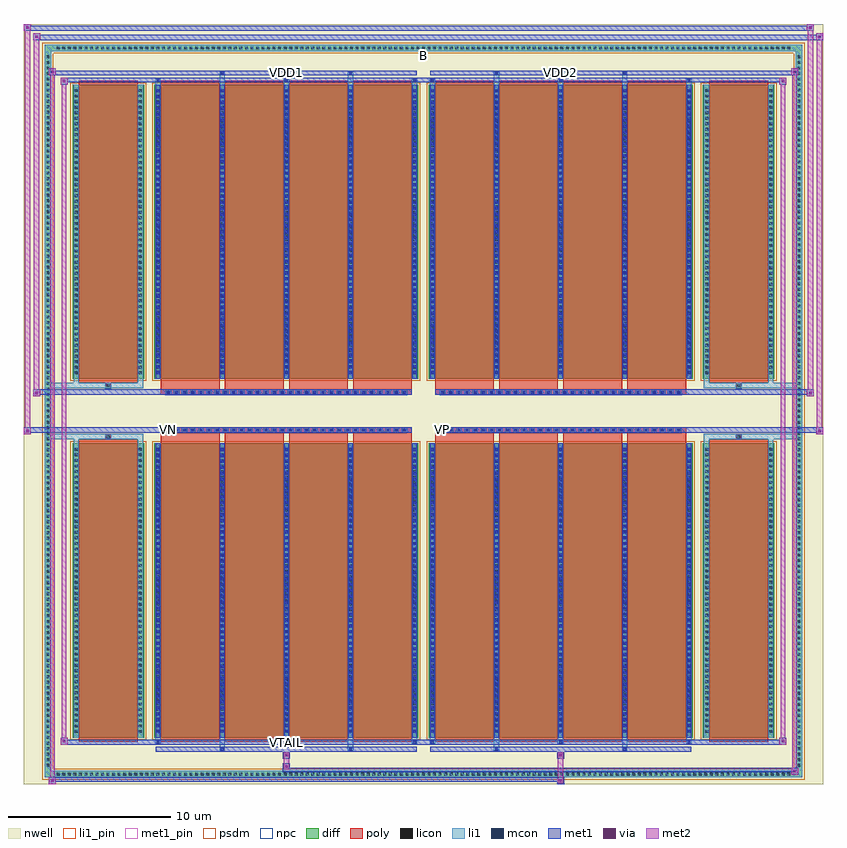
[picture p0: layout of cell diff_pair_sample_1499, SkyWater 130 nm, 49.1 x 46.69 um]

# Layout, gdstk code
import gdstk
lib = gdstk.Library(unit=1e-6, precision=5e-09)
def R(c, l, rs):  # rectangles x0, y0, x1, y1
    for r in rs: c.add(gdstk.rectangle(r[:2], r[2:], *l))
def A(c, l, x, y, w, h, nx, ny, dx, dy):  # array of equal rectangles
    R(c, l, [(x+i*dx, y+j*dy, x+i*dx+w, y+j*dy+h) for i in range(nx) for j in range(ny)])
def P(c, l, *ps):  # polygons
    for p in ps: c.add(gdstk.Polygon(p, *l))
nwell = (64, 20)
diff = (65, 20)
poly = (66, 20)
licon = (66, 44)
li1_pin = (67, 16)
li1 = (67, 20)
mcon = (67, 44)
met1_pin = (68, 16)
met1 = (68, 20)
via = (68, 44)
met2 = (69, 20)
psdm = (94, 20)
npc = (95, 20)

diff_pair_sample_1499 = lib.new_cell('diff_pair_sample_1499')
R(diff_pair_sample_1499, nwell, [(-24.55,-22.91,24.55,23.78), (-21.87,-21.1,-0.01,-0.8), (0.01,-21.1,21.87,-0.8), (-21.87,0.8,-0.01,21.1), (0.01,0.8,21.87,21.1)])
A(diff_pair_sample_1499, diff, -22.645, -22.51, 0.41, 0.41, 133, 2, 0.34, 44.61)
A(diff_pair_sample_1499, diff, -23.28, -21.965, 0.41, 0.41, 1, 129, 0, 0.34)
A(diff_pair_sample_1499, diff, 22.87, -21.965, 0.41, 0.41, 1, 129, 0, 0.34)
R(diff_pair_sample_1499, diff, [(-22.645,-22.51,22.645,-22.1), (-23.28,-21.965,-22.87,21.965), (22.87,-21.965,23.28,21.965), (-21.56,-20.055,-17.17,-1.985), (-16.53,-20.055,-0.32,-1.985), (0.32,-20.055,16.53,-1.985), (17.17,-20.055,21.56,-1.985), (-21.56,1.985,-17.17,20.055), (-16.53,1.985,-0.32,20.055), (0.32,1.985,16.53,20.055), (17.17,1.985,21.56,20.055), (-22.645,22.1,22.645,22.51)])
P(diff_pair_sample_1499, diff, [(23.28,22.51),(-23.28,22.51),(-23.28,-22.1),(-22.87,-22.1),(-22.87,22.1),(22.87,22.1),(22.87,-22.1),(-22.87,-22.1),(-23.28,-22.1),(-23.28,-22.51),(23.28,-22.51)])
A(diff_pair_sample_1499, poly, -16.14, -20.305, 3.61, 18.57, 4, 2, 3.94, 22.04)
A(diff_pair_sample_1499, poly, 0.71, -20.305, 3.61, 18.57, 4, 2, 3.94, 22.04)
A(diff_pair_sample_1499, poly, -16.14, -1.735, 3.61, 0.405, 4, 2, 3.94, 3.065)
A(diff_pair_sample_1499, poly, 0.71, -1.735, 3.61, 0.405, 4, 2, 3.94, 3.065)
A(diff_pair_sample_1499, poly, -15.84, -1.33, 0.33, 0.33, 30, 2, 0.5, 2.33)
A(diff_pair_sample_1499, poly, 1.01, -1.33, 0.33, 0.33, 30, 2, 0.5, 2.33)
R(diff_pair_sample_1499, poly, [(-21.17,-20.305,-17.56,-1.735), (17.56,-20.305,21.17,-1.735), (-19.53,-1.735,-19.2,-1.405), (-19.53,-1.735,-19.2,-1.405), (19.2,-1.735,19.53,-1.405), (19.2,-1.735,19.53,-1.405), (-16.14,-1.33,-0.71,-1), (0.71,-1.33,16.14,-1), (-16.14,1,-0.71,1.33), (0.71,1,16.14,1.33), (-19.53,1.405,-19.2,1.735), (-19.53,1.405,-19.2,1.735), (19.2,1.405,19.53,1.735), (19.2,1.405,19.53,1.735), (-21.17,1.735,-17.56,20.305), (17.56,1.735,21.17,20.305)])
A(diff_pair_sample_1499, licon, -22.525, -22.39, 0.17, 0.17, 133, 2, 0.34, 44.61)
A(diff_pair_sample_1499, licon, -23.16, -21.845, 0.17, 0.17, 1, 129, 0, 0.34)
A(diff_pair_sample_1499, licon, 22.99, -21.845, 0.17, 0.17, 1, 129, 0, 0.34)
A(diff_pair_sample_1499, licon, -21.42, -19.775, 0.17, 0.17, 1, 52, 0, 0.34)
A(diff_pair_sample_1499, licon, -17.48, -19.775, 0.17, 0.17, 1, 52, 0, 0.34)
A(diff_pair_sample_1499, licon, -16.39, -19.775, 0.17, 0.17, 5, 52, 3.94, 0.34)
A(diff_pair_sample_1499, licon, 0.46, -19.775, 0.17, 0.17, 5, 52, 3.94, 0.34)
A(diff_pair_sample_1499, licon, 17.31, -19.775, 0.17, 0.17, 1, 52, 0, 0.34)
A(diff_pair_sample_1499, licon, 21.25, -19.775, 0.17, 0.17, 1, 52, 0, 0.34)
A(diff_pair_sample_1499, licon, -15.76, -1.25, 0.17, 0.17, 30, 2, 0.5, 2.33)
A(diff_pair_sample_1499, licon, 1.09, -1.25, 0.17, 0.17, 30, 2, 0.5, 2.33)
A(diff_pair_sample_1499, licon, -21.42, 2.265, 0.17, 0.17, 1, 52, 0, 0.34)
A(diff_pair_sample_1499, licon, -17.48, 2.265, 0.17, 0.17, 1, 52, 0, 0.34)
A(diff_pair_sample_1499, licon, -16.39, 2.265, 0.17, 0.17, 5, 52, 3.94, 0.34)
A(diff_pair_sample_1499, licon, 0.46, 2.265, 0.17, 0.17, 5, 52, 3.94, 0.34)
A(diff_pair_sample_1499, licon, 17.31, 2.265, 0.17, 0.17, 1, 52, 0, 0.34)
A(diff_pair_sample_1499, licon, 21.25, 2.265, 0.17, 0.17, 1, 52, 0, 0.34)
R(diff_pair_sample_1499, licon, [(-19.45,-1.655,-19.28,-1.485), (19.28,-1.655,19.45,-1.485), (-19.45,1.485,-19.28,1.655), (19.28,1.485,19.45,1.655)])
R(diff_pair_sample_1499, li1_pin, [(-0.25,21.6,0.25,22.1)])
A(diff_pair_sample_1499, li1, -22.605, -22.47, 0.33, 0.33, 133, 2, 0.34, 44.61)
A(diff_pair_sample_1499, li1, -23.24, -21.925, 0.33, 0.33, 1, 129, 0, 0.34)
A(diff_pair_sample_1499, li1, 22.91, -21.925, 0.33, 0.33, 1, 129, 0, 0.34)
A(diff_pair_sample_1499, li1, -16.47, -20.43, 0.33, 0.375, 3, 2, 7.88, 40.485)
A(diff_pair_sample_1499, li1, -16.39, -20.43, 0.17, 0.17, 3, 2, 7.88, 40.69)
A(diff_pair_sample_1499, li1, 0.38, -20.43, 0.33, 0.375, 3, 2, 7.88, 40.485)
A(diff_pair_sample_1499, li1, 0.46, -20.43, 0.17, 0.17, 3, 2, 7.88, 40.69)
A(diff_pair_sample_1499, li1, -16.47, -20.055, 0.33, 18.07, 5, 2, 3.94, 22.04)
A(diff_pair_sample_1499, li1, 0.38, -20.055, 0.33, 18.07, 5, 2, 3.94, 22.04)
A(diff_pair_sample_1499, li1, -21.5, -19.855, 0.33, 0.33, 1, 52, 0, 0.34)
A(diff_pair_sample_1499, li1, -17.56, -19.855, 0.33, 0.33, 1, 52, 0, 0.34)
A(diff_pair_sample_1499, li1, -16.47, -19.855, 0.33, 0.33, 5, 52, 3.94, 0.34)
A(diff_pair_sample_1499, li1, 0.38, -19.855, 0.33, 0.33, 5, 52, 3.94, 0.34)
A(diff_pair_sample_1499, li1, 17.23, -19.855, 0.33, 0.33, 1, 52, 0, 0.34)
A(diff_pair_sample_1499, li1, 21.17, -19.855, 0.33, 0.33, 1, 52, 0, 0.34)
A(diff_pair_sample_1499, li1, -16.39, -19.745, 0.17, 0.17, 5, 49, 3.94, 0.36)
A(diff_pair_sample_1499, li1, -16.39, -19.745, 0.17, 17.45, 5, 2, 3.94, 22.04)
A(diff_pair_sample_1499, li1, 0.46, -19.745, 0.17, 0.17, 5, 49, 3.94, 0.36)
A(diff_pair_sample_1499, li1, 0.46, -19.745, 0.17, 17.45, 5, 2, 3.94, 22.04)
A(diff_pair_sample_1499, li1, -15.84, -1.33, 0.33, 0.33, 30, 2, 0.5, 2.33)
A(diff_pair_sample_1499, li1, 1.01, -1.33, 0.33, 0.33, 30, 2, 0.5, 2.33)
A(diff_pair_sample_1499, li1, -21.5, 2.185, 0.33, 0.33, 1, 52, 0, 0.34)
A(diff_pair_sample_1499, li1, -17.56, 2.185, 0.33, 0.33, 1, 52, 0, 0.34)
A(diff_pair_sample_1499, li1, -16.47, 2.185, 0.33, 0.33, 5, 52, 3.94, 0.34)
A(diff_pair_sample_1499, li1, 0.38, 2.185, 0.33, 0.33, 5, 52, 3.94, 0.34)
A(diff_pair_sample_1499, li1, 17.23, 2.185, 0.33, 0.33, 1, 52, 0, 0.34)
A(diff_pair_sample_1499, li1, 21.17, 2.185, 0.33, 0.33, 1, 52, 0, 0.34)
A(diff_pair_sample_1499, li1, -16.39, 2.295, 0.17, 0.17, 5, 49, 3.94, 0.36)
A(diff_pair_sample_1499, li1, 0.46, 2.295, 0.17, 0.17, 5, 49, 3.94, 0.36)
R(diff_pair_sample_1499, li1, [(-23.28,-22.51,-22.87,-22.1), (-23.28,-22.51,-22.87,-22.1), (-22.87,-22.51,22.87,-22.1), (22.87,-22.51,23.28,-22.1), (22.87,-22.51,23.28,-22.1), (-23.28,-22.1,-22.87,22.1), (22.87,-22.1,23.28,22.1), (-12.53,-20.86,-12.2,-20.055), (-12.45,-20.86,-12.28,-20.69), (-4.65,-20.86,-4.32,-20.055), (-4.57,-20.86,-4.4,-20.69), (4.32,-20.86,4.65,-20.055), (4.4,-20.86,4.57,-20.69), (12.2,-20.86,12.53,-20.055), (12.28,-20.86,12.45,-20.69), (-21.5,-20.055,-21.17,-1.985), (-17.56,-20.055,-17.23,-1.985), (17.23,-20.055,17.56,-1.985), (21.17,-20.055,21.5,-1.985), (-21.5,-1.985,-21.17,-1.405), (-17.56,-1.985,-17.23,-1.405), (17.23,-1.985,17.56,-1.405), (21.17,-1.985,21.5,-1.405), (-23.28,-1.735,-19.53,-1.405), (-21.5,-1.735,-19.53,-1.405), (-19.53,-1.735,-19.2,-1.405), (-19.2,-1.735,-17.23,-1.405), (17.23,-1.735,19.2,-1.405), (19.2,-1.735,19.53,-1.405), (19.2,-1.735,23.28,-1.405), (19.53,-1.735,21.5,-1.405), (-23.28,1.405,-19.53,1.735), (-21.5,1.405,-19.53,1.735), (-21.5,1.405,-21.17,1.985), (-19.53,1.405,-19.2,1.735), (-19.2,1.405,-17.23,1.735), (-17.56,1.405,-17.23,1.985), (17.23,1.405,19.2,1.735), (17.23,1.405,17.56,1.985), (19.2,1.405,19.53,1.735), (19.2,1.405,23.28,1.735), (19.53,1.405,21.5,1.735), (21.17,1.405,21.5,1.985), (-21.5,1.985,-21.17,20.055), (-17.56,1.985,-17.23,20.055), (17.23,1.985,17.56,20.055), (21.17,1.985,21.5,20.055), (-12.53,20.055,-12.2,20.86), (-4.65,20.055,-4.32,20.86), (4.32,20.055,4.65,20.86), (12.2,20.055,12.53,20.86), (-12.45,20.69,-12.28,20.86), (-4.57,20.69,-4.4,20.86), (4.4,20.69,4.57,20.86), (12.28,20.69,12.45,20.86), (-23.28,22.1,-22.87,22.51), (-23.28,22.1,-22.87,22.51), (-22.87,22.1,22.87,22.51), (22.87,22.1,23.28,22.51), (22.87,22.1,23.28,22.51)])
A(diff_pair_sample_1499, mcon, -16.39, -20.43, 0.17, 0.17, 3, 2, 7.88, 40.69)
A(diff_pair_sample_1499, mcon, 0.46, -20.43, 0.17, 0.17, 3, 2, 7.88, 40.69)
A(diff_pair_sample_1499, mcon, -16.39, -19.745, 0.17, 0.17, 5, 49, 3.94, 0.36)
A(diff_pair_sample_1499, mcon, 0.46, -19.745, 0.17, 0.17, 5, 49, 3.94, 0.36)
A(diff_pair_sample_1499, mcon, -15.76, -1.25, 0.17, 0.17, 30, 2, 0.5, 2.33)
A(diff_pair_sample_1499, mcon, 1.09, -1.25, 0.17, 0.17, 30, 2, 0.5, 2.33)
A(diff_pair_sample_1499, mcon, -16.39, 2.295, 0.17, 0.17, 5, 49, 3.94, 0.36)
A(diff_pair_sample_1499, mcon, 0.46, 2.295, 0.17, 0.17, 5, 49, 3.94, 0.36)
R(diff_pair_sample_1499, mcon, [(-12.45,-20.86,-12.28,-20.69), (-4.57,-20.86,-4.4,-20.69), (4.4,-20.86,4.57,-20.69), (12.28,-20.86,12.45,-20.69), (-12.45,20.69,-12.28,20.86), (-4.57,20.69,-4.4,20.86), (4.4,20.69,4.57,20.86), (12.28,20.69,12.45,20.86)])
R(diff_pair_sample_1499, met1_pin, [(-8.56,-20.47,-8.29,-20.2), (-15.81,-1.29,-15.54,-1.02), (1.04,-1.29,1.31,-1.02), (-8.56,20.65,-8.29,20.92), (8.29,20.65,8.56,20.92)])
A(diff_pair_sample_1499, met1, -16.45, -20.49, 0.29, 0.29, 3, 2, 7.88, 40.69)
A(diff_pair_sample_1499, met1, 0.4, -20.49, 0.29, 0.29, 3, 2, 7.88, 40.69)
A(diff_pair_sample_1499, met1, -16.45, -20.055, 0.29, 18.07, 5, 2, 3.94, 22.04)
A(diff_pair_sample_1499, met1, 0.4, -20.055, 0.29, 18.07, 5, 2, 3.94, 22.04)
A(diff_pair_sample_1499, met1, -16.45, -19.805, 0.29, 0.29, 5, 49, 3.94, 0.36)
A(diff_pair_sample_1499, met1, 0.4, -19.805, 0.29, 0.29, 5, 49, 3.94, 0.36)
A(diff_pair_sample_1499, met1, -15.82, -1.31, 0.29, 0.29, 30, 2, 0.5, 2.33)
A(diff_pair_sample_1499, met1, 1.03, -1.31, 0.29, 0.29, 30, 2, 0.5, 2.33)
A(diff_pair_sample_1499, met1, -16.45, 2.235, 0.29, 0.29, 5, 49, 3.94, 0.36)
A(diff_pair_sample_1499, met1, 0.4, 2.235, 0.29, 0.29, 5, 49, 3.94, 0.36)
R(diff_pair_sample_1499, met1, [(-23.01,-22.91,-22.58,-22.48), (8.21,-22.91,8.64,-22.48), (-23.01,-22.77,8.64,-22.48), (22.58,-22.34,23.01,-21.91), (-8.64,-22.2,23.01,-21.91), (-8.64,-22.06,-8.21,-21.63), (-8.64,-21.35,-8.21,-20.92), (8.21,-21.35,8.64,-20.92), (-16.45,-20.92,-0.4,-20.63), (-12.51,-20.92,-12.22,-20.63), (-4.63,-20.92,-4.34,-20.63), (0.4,-20.92,16.45,-20.63), (4.34,-20.92,4.63,-20.63), (12.22,-20.92,12.51,-20.63), (-22.3,-20.49,-21.87,-20.06), (-22.3,-20.49,-16.45,-20.2), (-16.45,-20.49,-0.4,-20.2), (-0.4,-20.49,0.4,-20.2), (0.4,-20.49,16.45,-20.2), (16.45,-20.49,22.3,-20.2), (21.87,-20.49,22.3,-20.06), (-24.55,-1.43,-24.12,-1), (24.12,-1.43,24.55,-1), (-24.55,-1.33,-0.71,-1), (-16.14,-1.33,-0.71,-1), (0.71,-1.33,16.14,-1), (0.71,-1.33,24.55,-1), (-23.98,0.9,-23.55,1.33), (23.55,0.9,23.98,1.33), (-23.98,1,-16.14,1.33), (-16.14,1,-0.71,1.33), (0.71,1,16.14,1.33), (16.14,1,23.98,1.33), (-22.3,20.06,-21.87,20.49), (21.87,20.06,22.3,20.49), (-22.3,20.2,-16.45,20.49), (-16.45,20.2,-0.4,20.49), (-0.4,20.2,0.4,20.49), (0.4,20.2,16.45,20.49), (16.45,20.2,22.3,20.49), (-23.01,20.63,-22.58,21.06), (-23.01,20.63,-16.45,20.92), (-16.45,20.63,-0.4,20.92), (-12.51,20.63,-12.22,20.92), (-4.63,20.63,-4.34,20.92), (0.4,20.63,16.45,20.92), (4.34,20.63,4.63,20.92), (12.22,20.63,12.51,20.92), (16.45,20.63,23.01,20.92), (22.58,20.63,23.01,21.06), (-23.98,22.78,-23.55,23.21), (-23.98,22.78,-21.87,23.11), (-21.87,22.78,21.87,23.11), (21.87,22.78,24.55,23.11), (24.12,22.78,24.55,23.21), (-24.55,23.35,-24.12,23.78), (-24.55,23.35,-21.87,23.68), (-21.87,23.35,21.87,23.68), (21.87,23.35,23.98,23.68), (23.55,23.35,23.98,23.78)])
R(diff_pair_sample_1499, via, [(-22.87,-22.77,-22.72,-22.62), (8.35,-22.77,8.5,-22.62), (22.72,-22.2,22.87,-22.05), (-8.5,-21.92,-8.35,-21.77), (-8.5,-21.21,-8.35,-21.06), (8.35,-21.21,8.5,-21.06), (-22.16,-20.35,-22.01,-20.2), (22.01,-20.35,22.16,-20.2), (-24.41,-1.29,-24.26,-1.14), (24.26,-1.29,24.41,-1.14), (-23.84,1.04,-23.69,1.19), (23.69,1.04,23.84,1.19), (-22.16,20.2,-22.01,20.35), (22.01,20.2,22.16,20.35), (-22.87,20.77,-22.72,20.92), (22.72,20.77,22.87,20.92), (-23.84,22.92,-23.69,23.07), (24.26,22.92,24.41,23.07), (-24.41,23.49,-24.26,23.64), (23.69,23.49,23.84,23.64)])
R(diff_pair_sample_1499, met2, [(-23.01,-22.91,-22.58,-22.48), (-22.94,-22.91,-22.65,21.06), (-22.65,-22.91,-22.58,-22.48), (-22.96,-22.86,-22.63,-22.53), (8.26,-22.86,8.59,-22.53), (8.26,-22.53,8.59,-21.3), (22.58,-22.34,23.01,-21.91), (22.65,-22.34,22.94,21.06), (22.94,-22.34,23.01,-21.91), (22.63,-22.29,22.96,-21.96), (-8.59,-22.01,-8.26,-21.68), (-8.59,-21.68,-8.26,-21.3), (-8.59,-21.3,-8.26,-20.97), (8.26,-21.3,8.59,-20.97), (-22.3,-20.49,-21.87,-20.06), (-22.23,-20.49,-21.94,20.49), (-21.94,-20.49,-21.87,-20.06), (21.87,-20.49,22.3,-20.06), (21.94,-20.49,22.23,20.49), (22.23,-20.49,22.3,-20.06), (-22.25,-20.44,-21.92,-20.11), (21.92,-20.44,22.25,-20.11), (-24.55,-1.43,-24.12,-1), (-24.5,-1.43,-24.17,23.78), (-24.17,-1.43,-24.12,-1), (24.12,-1.43,24.55,-1), (24.17,-1.43,24.5,23.21), (24.5,-1.43,24.55,-1), (-24.5,-1.38,-24.17,-1.05), (24.17,-1.38,24.5,-1.05), (-23.98,0.9,-23.55,1.33), (-23.93,0.9,-23.6,23.21), (-23.6,0.9,-23.55,1.33), (23.55,0.9,23.98,1.33), (23.6,0.9,23.93,23.78), (23.93,0.9,23.98,1.33), (-23.93,0.95,-23.6,1.28), (23.6,0.95,23.93,1.28), (-22.3,20.06,-21.87,20.49), (-21.94,20.06,-21.87,20.49), (21.87,20.06,22.3,20.49), (22.23,20.06,22.3,20.49), (-22.25,20.11,-21.92,20.44), (21.92,20.11,22.25,20.44), (-23.01,20.63,-22.58,21.06), (-22.65,20.63,-22.58,21.06), (22.58,20.63,23.01,21.06), (22.94,20.63,23.01,21.06), (-22.96,20.68,-22.63,21.01), (22.63,20.68,22.96,21.01), (-23.98,22.78,-23.55,23.21), (-23.6,22.78,-23.55,23.21), (24.12,22.78,24.55,23.21), (24.5,22.78,24.55,23.21), (-23.93,22.83,-23.6,23.16), (24.17,22.83,24.5,23.16), (-24.55,23.35,-24.12,23.78), (-24.17,23.35,-24.12,23.78), (23.55,23.35,23.98,23.78), (23.93,23.35,23.98,23.78), (-24.5,23.4,-24.17,23.73), (23.6,23.4,23.93,23.73)])
R(diff_pair_sample_1499, psdm, [(-21.69,-20.185,-17.04,-1.855), (-16.66,-20.185,-0.19,-1.855), (0.19,-20.185,16.66,-1.855), (17.04,-20.185,21.69,-1.855), (-21.69,1.855,-17.04,20.185), (-16.66,1.855,-0.19,20.185), (0.19,1.855,16.66,20.185), (17.04,1.855,21.69,20.185)])
P(diff_pair_sample_1499, psdm, [(23.41,22.64),(-23.41,22.64),(-23.41,-21.97),(-22.74,-21.97),(-22.74,21.97),(22.74,21.97),(22.74,-21.97),(-22.74,-21.97),(-23.41,-21.97),(-23.41,-22.64),(23.41,-22.64)])
A(diff_pair_sample_1499, npc, -15.86, -1.35, 0.37, 0.37, 30, 2, 0.5, 2.33)
A(diff_pair_sample_1499, npc, 0.99, -1.35, 0.37, 0.37, 30, 2, 0.5, 2.33)
R(diff_pair_sample_1499, npc, [(-19.55,-1.755,-19.18,-1.385), (19.18,-1.755,19.55,-1.385), (-15.86,-1.35,-14.99,-0.98), (-15.86,-1.35,-14.99,-0.98), (-15.36,-1.35,-14.49,-0.98), (-15.36,-1.35,-14.49,-0.98), (-14.86,-1.35,-13.99,-0.98), (-14.86,-1.35,-13.99,-0.98), (-14.36,-1.35,-13.49,-0.98), (-14.36,-1.35,-13.49,-0.98), (-13.86,-1.35,-12.99,-0.98), (-13.86,-1.35,-12.99,-0.98), (-13.36,-1.35,-12.49,-0.98), (-13.36,-1.35,-12.49,-0.98), (-12.86,-1.35,-11.99,-0.98), (-12.86,-1.35,-11.99,-0.98), (-12.36,-1.35,-11.49,-0.98), (-12.36,-1.35,-11.49,-0.98), (-11.86,-1.35,-10.99,-0.98), (-11.86,-1.35,-10.99,-0.98), (-11.36,-1.35,-10.49,-0.98), (-11.36,-1.35,-10.49,-0.98), (-10.86,-1.35,-9.99,-0.98), (-10.86,-1.35,-9.99,-0.98), (-10.36,-1.35,-9.49,-0.98), (-10.36,-1.35,-9.49,-0.98), (-9.86,-1.35,-8.99,-0.98), (-9.86,-1.35,-8.99,-0.98), (-9.36,-1.35,-8.49,-0.98), (-9.36,-1.35,-8.49,-0.98), (-8.86,-1.35,-7.99,-0.98), (-8.86,-1.35,-7.99,-0.98), (-8.36,-1.35,-7.49,-0.98), (-8.36,-1.35,-7.49,-0.98), (-7.86,-1.35,-6.99,-0.98), (-7.86,-1.35,-6.99,-0.98), (-7.36,-1.35,-6.49,-0.98), (-7.36,-1.35,-6.49,-0.98), (-6.86,-1.35,-5.99,-0.98), (-6.86,-1.35,-5.99,-0.98), (-6.36,-1.35,-5.49,-0.98), (-6.36,-1.35,-5.49,-0.98), (-5.86,-1.35,-4.99,-0.98), (-5.86,-1.35,-4.99,-0.98), (-5.36,-1.35,-4.49,-0.98), (-5.36,-1.35,-4.49,-0.98), (-4.86,-1.35,-3.99,-0.98), (-4.86,-1.35,-3.99,-0.98), (-4.36,-1.35,-3.49,-0.98), (-4.36,-1.35,-3.49,-0.98), (-3.86,-1.35,-2.99,-0.98), (-3.86,-1.35,-2.99,-0.98), (-3.36,-1.35,-2.49,-0.98), (-3.36,-1.35,-2.49,-0.98), (-2.86,-1.35,-1.99,-0.98), (-2.86,-1.35,-1.99,-0.98), (-2.36,-1.35,-1.49,-0.98), (-2.36,-1.35,-1.49,-0.98), (-1.86,-1.35,-0.99,-0.98), (-1.86,-1.35,-0.99,-0.98), (0.99,-1.35,1.86,-0.98), (0.99,-1.35,1.86,-0.98), (1.49,-1.35,2.36,-0.98), (1.49,-1.35,2.36,-0.98), (1.99,-1.35,2.86,-0.98), (1.99,-1.35,2.86,-0.98), (2.49,-1.35,3.36,-0.98), (2.49,-1.35,3.36,-0.98), (2.99,-1.35,3.86,-0.98), (2.99,-1.35,3.86,-0.98), (3.49,-1.35,4.36,-0.98), (3.49,-1.35,4.36,-0.98), (3.99,-1.35,4.86,-0.98), (3.99,-1.35,4.86,-0.98), (4.49,-1.35,5.36,-0.98), (4.49,-1.35,5.36,-0.98), (4.99,-1.35,5.86,-0.98), (4.99,-1.35,5.86,-0.98), (5.49,-1.35,6.36,-0.98), (5.49,-1.35,6.36,-0.98), (5.99,-1.35,6.86,-0.98), (5.99,-1.35,6.86,-0.98), (6.49,-1.35,7.36,-0.98), (6.49,-1.35,7.36,-0.98), (6.99,-1.35,7.86,-0.98), (6.99,-1.35,7.86,-0.98), (7.49,-1.35,8.36,-0.98), (7.49,-1.35,8.36,-0.98), (7.99,-1.35,8.86,-0.98), (7.99,-1.35,8.86,-0.98), (8.49,-1.35,9.36,-0.98), (8.49,-1.35,9.36,-0.98), (8.99,-1.35,9.86,-0.98), (8.99,-1.35,9.86,-0.98), (9.49,-1.35,10.36,-0.98), (9.49,-1.35,10.36,-0.98), (9.99,-1.35,10.86,-0.98), (9.99,-1.35,10.86,-0.98), (10.49,-1.35,11.36,-0.98), (10.49,-1.35,11.36,-0.98), (10.99,-1.35,11.86,-0.98), (10.99,-1.35,11.86,-0.98), (11.49,-1.35,12.36,-0.98), (11.49,-1.35,12.36,-0.98), (11.99,-1.35,12.86,-0.98), (11.99,-1.35,12.86,-0.98), (12.49,-1.35,13.36,-0.98), (12.49,-1.35,13.36,-0.98), (12.99,-1.35,13.86,-0.98), (12.99,-1.35,13.86,-0.98), (13.49,-1.35,14.36,-0.98), (13.49,-1.35,14.36,-0.98), (13.99,-1.35,14.86,-0.98), (13.99,-1.35,14.86,-0.98), (14.49,-1.35,15.36,-0.98), (14.49,-1.35,15.36,-0.98), (14.99,-1.35,15.86,-0.98), (14.99,-1.35,15.86,-0.98), (-15.86,0.98,-14.99,1.35), (-15.86,0.98,-14.99,1.35), (-15.36,0.98,-14.49,1.35), (-15.36,0.98,-14.49,1.35), (-14.86,0.98,-13.99,1.35), (-14.86,0.98,-13.99,1.35), (-14.36,0.98,-13.49,1.35), (-14.36,0.98,-13.49,1.35), (-13.86,0.98,-12.99,1.35), (-13.86,0.98,-12.99,1.35), (-13.36,0.98,-12.49,1.35), (-13.36,0.98,-12.49,1.35), (-12.86,0.98,-11.99,1.35), (-12.86,0.98,-11.99,1.35), (-12.36,0.98,-11.49,1.35), (-12.36,0.98,-11.49,1.35), (-11.86,0.98,-10.99,1.35), (-11.86,0.98,-10.99,1.35), (-11.36,0.98,-10.49,1.35), (-11.36,0.98,-10.49,1.35), (-10.86,0.98,-9.99,1.35), (-10.86,0.98,-9.99,1.35), (-10.36,0.98,-9.49,1.35), (-10.36,0.98,-9.49,1.35), (-9.86,0.98,-8.99,1.35), (-9.86,0.98,-8.99,1.35), (-9.36,0.98,-8.49,1.35), (-9.36,0.98,-8.49,1.35), (-8.86,0.98,-7.99,1.35), (-8.86,0.98,-7.99,1.35), (-8.36,0.98,-7.49,1.35), (-8.36,0.98,-7.49,1.35), (-7.86,0.98,-6.99,1.35), (-7.86,0.98,-6.99,1.35), (-7.36,0.98,-6.49,1.35), (-7.36,0.98,-6.49,1.35), (-6.86,0.98,-5.99,1.35), (-6.86,0.98,-5.99,1.35), (-6.36,0.98,-5.49,1.35), (-6.36,0.98,-5.49,1.35), (-5.86,0.98,-4.99,1.35), (-5.86,0.98,-4.99,1.35), (-5.36,0.98,-4.49,1.35), (-5.36,0.98,-4.49,1.35), (-4.86,0.98,-3.99,1.35), (-4.86,0.98,-3.99,1.35), (-4.36,0.98,-3.49,1.35), (-4.36,0.98,-3.49,1.35), (-3.86,0.98,-2.99,1.35), (-3.86,0.98,-2.99,1.35), (-3.36,0.98,-2.49,1.35), (-3.36,0.98,-2.49,1.35), (-2.86,0.98,-1.99,1.35), (-2.86,0.98,-1.99,1.35), (-2.36,0.98,-1.49,1.35), (-2.36,0.98,-1.49,1.35), (-1.86,0.98,-0.99,1.35), (-1.86,0.98,-0.99,1.35), (0.99,0.98,1.86,1.35), (0.99,0.98,1.86,1.35), (1.49,0.98,2.36,1.35), (1.49,0.98,2.36,1.35), (1.99,0.98,2.86,1.35), (1.99,0.98,2.86,1.35), (2.49,0.98,3.36,1.35), (2.49,0.98,3.36,1.35), (2.99,0.98,3.86,1.35), (2.99,0.98,3.86,1.35), (3.49,0.98,4.36,1.35), (3.49,0.98,4.36,1.35), (3.99,0.98,4.86,1.35), (3.99,0.98,4.86,1.35), (4.49,0.98,5.36,1.35), (4.49,0.98,5.36,1.35), (4.99,0.98,5.86,1.35), (4.99,0.98,5.86,1.35), (5.49,0.98,6.36,1.35), (5.49,0.98,6.36,1.35), (5.99,0.98,6.86,1.35), (5.99,0.98,6.86,1.35), (6.49,0.98,7.36,1.35), (6.49,0.98,7.36,1.35), (6.99,0.98,7.86,1.35), (6.99,0.98,7.86,1.35), (7.49,0.98,8.36,1.35), (7.49,0.98,8.36,1.35), (7.99,0.98,8.86,1.35), (7.99,0.98,8.86,1.35), (8.49,0.98,9.36,1.35), (8.49,0.98,9.36,1.35), (8.99,0.98,9.86,1.35), (8.99,0.98,9.86,1.35), (9.49,0.98,10.36,1.35), (9.49,0.98,10.36,1.35), (9.99,0.98,10.86,1.35), (9.99,0.98,10.86,1.35), (10.49,0.98,11.36,1.35), (10.49,0.98,11.36,1.35), (10.99,0.98,11.86,1.35), (10.99,0.98,11.86,1.35), (11.49,0.98,12.36,1.35), (11.49,0.98,12.36,1.35), (11.99,0.98,12.86,1.35), (11.99,0.98,12.86,1.35), (12.49,0.98,13.36,1.35), (12.49,0.98,13.36,1.35), (12.99,0.98,13.86,1.35), (12.99,0.98,13.86,1.35), (13.49,0.98,14.36,1.35), (13.49,0.98,14.36,1.35), (13.99,0.98,14.86,1.35), (13.99,0.98,14.86,1.35), (14.49,0.98,15.36,1.35), (14.49,0.98,15.36,1.35), (14.99,0.98,15.86,1.35), (14.99,0.98,15.86,1.35), (-19.55,1.385,-19.18,1.755), (19.18,1.385,19.55,1.755)])
diff_pair_sample_1499.add(gdstk.Label('VTAIL', (-8.425,-20.335), layer=68, texttype=5))
diff_pair_sample_1499.add(gdstk.Label('VN', (-15.675,-1.155), layer=68, texttype=5))
diff_pair_sample_1499.add(gdstk.Label('VP', (1.175,-1.155), layer=68, texttype=5))
diff_pair_sample_1499.add(gdstk.Label('B', (0,21.85), layer=67, texttype=5))
diff_pair_sample_1499.add(gdstk.Label('VDD2', (8.425,20.785), layer=68, texttype=5))
diff_pair_sample_1499.add(gdstk.Label('VDD1', (-8.425,20.785), layer=68, texttype=5))

lib.write_gds('diff_pair_sample_1499.gds')
